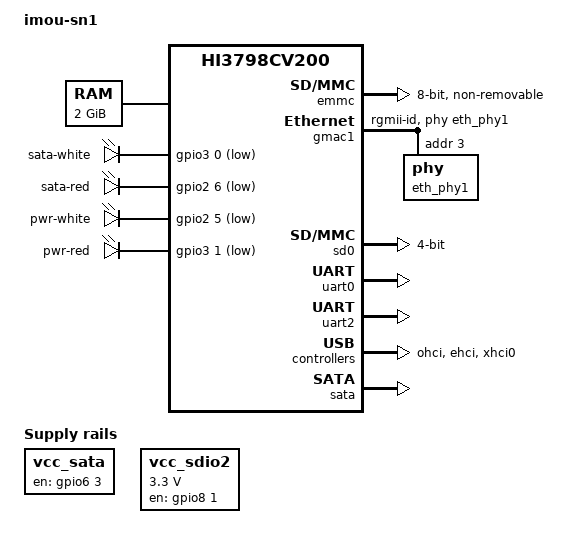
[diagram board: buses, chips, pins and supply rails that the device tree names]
/dts-v1/;
/memreserve/ 0x00000000 0x04080000;
/* reserved for bootloader */

#include <dt-bindings/gpio/gpio.h>
#include "hi3798cv200.dtsi"
#include "poplar-pinctrl.dtsi"

/ {
	model = "imou-sn1";
	compatible = "imou,sn1", "hisilicon,hi3798cv200";

	aliases {
		serial0 = &uart0;
		serial2 = &uart2;
	};

	chosen {
		stdout-path = "serial0:115200n8";
	};

	memory@0 {
		device_type = "memory";
		reg = <0x0 0x0 0x0 0x80000000>;
	};

	leds {
		compatible = "gpio-leds";

		sata-white {
			label = "sata-white";
			gpios = <&gpio3 0 GPIO_ACTIVE_LOW>;
			default-state = "off";
			linux,default-trigger = "disk-activity";
		};

		sata-red {
			label = "sata-red";
			gpios = <&gpio2 6 GPIO_ACTIVE_LOW>;
			default-state = "off";
		};

		pwr-white {
			label = "pwr-white";
			gpios = <&gpio2 5 GPIO_ACTIVE_LOW>;
			default-state = "on";
		};

		pwr-red {
			label = "pwr-red";
			gpios = <&gpio3 1 GPIO_ACTIVE_LOW>;
			default-state = "off";
		};
	};

	vcc_sata: regulator-vcc-sata {
		compatible = "regulator-fixed";
		regulator-name = "vcc-sata";
		gpio = <&gpio6 3 GPIO_ACTIVE_HIGH>;
		enable-active-high;
	};

	vcc_sdio2: regulator-vcc-sdio2 {
		compatible = "regulator-fixed";
		regulator-name = "vcc-sdio2";
		regulator-min-microvolt = <3300000>;
		regulator-max-microvolt = <3300000>;
		gpio = <&gpio8 1 GPIO_ACTIVE_HIGH>;
		enable-active-high;
		startup-delay-us = <100000>;
	};
};

&gpio2 {
	status = "okay";
};

&gpio3 {
	status = "okay";
};

&gpio6 {
	status = "okay";
};

&gpio8 {
	status = "okay";
};

&emmc {
	status = "okay";
	num-slots = <1>;
	fifo-depth = <256>;
	clock-frequency = <200000000>;
	cap-mmc-highspeed;
	mmc-ddr-1_8v;
	mmc-hs200-1_8v;
	non-removable;
	bus-width = <8>;
};

&gmac1 {
	status = "okay";
	#address-cells = <1>;
	#size-cells = <0>;
	phy-handle = <&eth_phy1>;
	phy-mode = "rgmii-id";
	hisilicon,phy-reset-delays-us = <30000 30000 50000>;

	eth_phy1: phy@3 {
		reg = <3>;
	};
};

&sd0 {
	bus-width = <4>;
	cap-sd-highspeed;
	status = "okay";
};

&sd2 {
	bus-width = <4>;
	disable-wp;
	broken-cd;
	non-removable;
	cap-power-off-card;
	vmmc-supply = <&vcc_sdio2>;
	status = "disabled";
};

&uart0 {
	status = "okay";
};

&uart2 {
	status = "okay";
};

&ohci {
	status = "okay";
};

&ehci {
	status = "okay";
};

&xhci0 {
	status = "okay";
};

&sata {
	status = "okay";
	target-supply = <&vcc_sata>;
};

&combphy1 {
	sata-controller = <&sata>;
	assigned-clocks = <&crg 80>;
	assigned-clock-parents = <&crg 66>;
	assigned-clock-rates = <25000000>;
};

&pmx0 {
	pinctrl-single,gpio-range = <
		&range 0  8 2  /* GPIO 0 */
		&range 8  1 0  /* GPIO 1 */
		&range 9  4 2
		&range 13 1 0
		&range 14 1 1
		&range 15 1 0
		&range 16 5 0  /* GPIO 2 */
		&range 21 3 0
		&range 24 4 0  /* GPIO 3 */
		&range 28 2 2
		&range 86 1 1
		&range 87 1 0
		&range 30 4 2  /* GPIO 4 */
		&range 34 3 0
		&range 37 1 2
		&range 38 3 2  /* GPIO 6 */
		&range 41 2 0
		&range 43 3 2  /* SDIO2 */
		&range 46 3 2  /* GPIO 7 */
		&range 49 5 0  /* GPIO 7 */
		&range 54 8 0  /* GPIO 8, skip 62-63 */
		&range 64 7 1  /* GPIO 9 */
		&range 72 6 1  /* GPIO 10, RGMII */
		&range 78 1 0  /* GPIO */
		&range 79 1 1  /* RGMII */
		&range 80 6 1  /* GPIO 11, RGMII*/
		&range 70 2 1  /* RGMII */
		&range 88 8 0  /* GPIO 12 */
	>;

	pinctrl-names = "default";
	pinctrl-0 = <
		&emmc_pins_1
		&emmc_pins_2
		&emmc_pins_3
		&emmc_pins_4
		&i2c0_pmx_cfg
		&gpio_pmx_cfg
		&bt_uart2_p1_pmx_cfg
		&bt_uart2_p2_pmx_cfg
		&i2c2_p1_pmx_cfg
		&i2c2_p2_pmx_cfg
		&rgmii1_p1_pmx_cfg
		&rgmii1_p2_pmx_cfg
		&rgmii1_p3_pmx_cfg
		&sdio0_p1_pmx0_cfg
		&sdio0_p2_pmx0_cfg
		&sdio0_p3_pmx0_cfg
		&sdio2_p2_pmx0_cfg
		&sdio2_p3_pmx0_cfg
	>;
};

